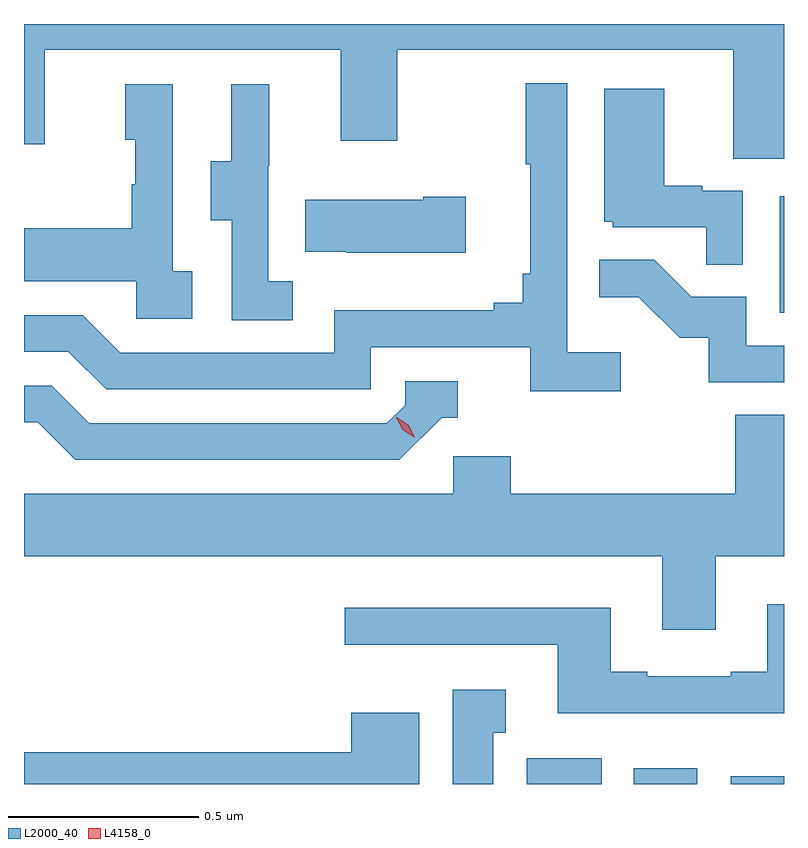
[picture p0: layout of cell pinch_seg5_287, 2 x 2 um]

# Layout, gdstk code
import gdstk
lib = gdstk.Library(unit=1e-6, precision=1e-09)
def R(c, l, rs):  # rectangles x0, y0, x1, y1
    for r in rs: c.add(gdstk.rectangle(r[:2], r[2:], *l))
def P(c, l, *ps):  # polygons
    for p in ps: c.add(gdstk.Polygon(p, *l))
L2000_40 = (2000, 40)
L4158_0 = (4158, 0)

pinch_seg5_287 = lib.new_cell('pinch_seg5_287')
R(pinch_seg5_287, L2000_40, [(906.842,900.116,907.039,900.184), (907.124,900.116,907.291,900.157), (907.379,900.116,907.519,900.136), (907.508,901.356,907.519,901.663)])
P(pinch_seg5_287, L2000_40, [(907.519,902.116),(905.519,902.116),(905.519,901.8),(905.573,901.8),(905.573,902.048),(906.353,902.048),(906.353,901.809),(906.501,901.809),(906.501,902.048),(907.385,902.048),(907.385,901.762),(907.519,901.762)],
  [(907.09,901.252),(906.948,901.252),(906.948,901.96),(906.84,901.96),(906.84,901.747),(906.851,901.747),(906.851,901.459),(906.832,901.459),(906.832,901.382),(906.755,901.382),(906.755,901.363),(906.336,901.363),(906.336,901.251),(905.772,901.251),(905.673,901.35),(905.519,901.35),(905.519,901.254),(905.636,901.254),(905.735,901.155),(906.432,901.155),(906.432,901.266),(906.851,901.266),(906.851,901.15),(907.09,901.15)],
  [(905.962,901.466),(905.91,901.466),(905.91,901.957),(905.786,901.957),(905.786,901.812),(905.812,901.812),(905.812,901.694),(905.802,901.694),(905.802,901.579),(905.519,901.579),(905.519,901.439),(905.814,901.439),(905.814,901.341),(905.962,901.341)],
  [(906.226,901.439),(906.162,901.439),(906.162,901.743),(906.164,901.743),(906.164,901.957),(906.065,901.957),(906.065,901.755),(906.011,901.755),(906.011,901.6),(906.066,901.6),(906.066,901.336),(906.226,901.336)],
  [(907.41,901.677),(907.304,901.677),(907.304,901.69),(907.204,901.69),(907.204,901.945),(907.046,901.945),(907.046,901.596),(907.068,901.596),(907.068,901.581),(907.315,901.581),(907.315,901.483),(907.41,901.483)],
  [(906.682,901.662),(906.569,901.662),(906.569,901.654),(906.259,901.654),(906.259,901.517),(906.367,901.517),(906.367,901.514),(906.682,901.514)],
  [(907.519,901.269),(907.419,901.269),(907.419,901.398),(907.275,901.398),(907.177,901.496),(907.033,901.496),(907.033,901.397),(907.137,901.397),(907.244,901.29),(907.321,901.29),(907.321,901.173),(907.519,901.173)],
  [(906.618,901.08),(906.661,901.08),(906.661,901.176),(906.522,901.176),(906.522,901.113),(906.474,901.065),(905.691,901.065),(905.592,901.164),(905.519,901.164),(905.519,901.068),(905.555,901.068),(905.654,900.969),(906.507,900.969)],
  [(906.8,900.978),(906.648,900.978),(906.648,900.88),(905.519,900.88),(905.519,900.716),(907.199,900.716),(907.199,900.522),(907.339,900.522),(907.339,900.716),(907.519,900.716),(907.519,901.088),(907.391,901.088),(907.391,900.88),(906.8,900.88)],
  [(907.519,900.589),(907.475,900.589),(907.475,900.412),(907.379,900.412),(907.379,900.399),(907.159,900.399),(907.159,900.412),(907.063,900.412),(907.063,900.58),(906.363,900.58),(906.363,900.483),(906.923,900.483),(906.923,900.302),(907.519,900.302)],
  [(906.754,900.251),(906.787,900.251),(906.787,900.364),(906.647,900.364),(906.647,900.116),(906.754,900.116)],
  [(906.559,900.304),(906.38,900.304),(906.38,900.2),(905.519,900.2),(905.519,900.116),(906.559,900.116)])
P(pinch_seg5_287, L4158_0, [(906.546,901.028),(906.516,901.048),(906.499,901.08),(906.499,901.081),(906.5,901.081),(906.53,901.061),(906.547,901.029),(906.547,901.028)])

lib.write_gds('pinch_seg5_287.gds')
